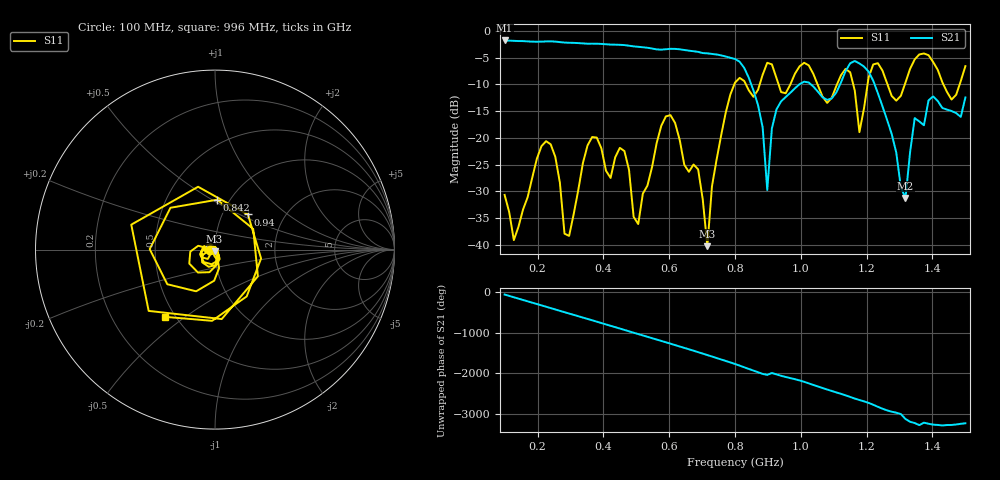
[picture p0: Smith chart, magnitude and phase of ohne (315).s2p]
! NanoVNA-App
! Date: 2025-09-25 14:23:15
! Start: 100MHz Stop: 1,5GHz Points: 101
! S-Parameter data: F S11 S21 S12 S22
# Hz S RI R 50
!  Frequency  S11_Real  S11_Imag  S21_Real  S21_Imag  S12_Real  S12_Imag  S22_Real  S22_Imag
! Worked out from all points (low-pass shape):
!   101 points, 100 MHz to 1.5 GHz, reference 50 ohm
!   highest |S21| = -1.79 dB at 100 MHz (marker M1); lowest = -31.2 dB at 1.318 GHz (marker M2)
!   |S21| within 3 dB of the highest: start of sweep to 772.1 MHz
!   lowest |S11| = -40.2 dB at 716 MHz (marker M3), VSWR 1.02, Z = 49.7 - j0.937 ohm
!   |S11| at or under -10 dB: start of sweep to 797.9 MHz; 833.1 MHz to 875 MHz (41.91 MHz wide, 4.91 % of centre); 1.051 GHz to 1.11 GHz (59.15 MHz wide, 5.48 % of centre) (the widest 3 of 7)
!   S12 and S22 are empty: the file has one direction only
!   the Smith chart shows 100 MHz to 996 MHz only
!   S11 on the Smith chart (normalised r, x): 100 MHz: 0.94, -0.01; 842 MHz: 0.88, +0.53; 940 MHz: 1.32, +0.55; 996 MHz: 0.44, -0.42
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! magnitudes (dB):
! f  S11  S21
! 100 MHz  -30.6  -1.8
! 128 MHz  -39.1  -1.9
! 226 MHz  -20.6  -2.0
! 296 MHz  -38.3  -2.2
! 338 MHz  -24.7  -2.3
! 464 MHz  -22.5  -2.7
! 506 MHz  -36.1  -3.0
! 576 MHz  -17.7  -3.5
! 688 MHz  -25.9  -3.9
! 716 MHz  -40.2  -4.2
! 800 MHz  -9.7  -5.3
! 842 MHz  -11.1  -8.8
! 898 MHz  -6.0  -29.7
! 940 MHz  -11.4  -13.2
! 996 MHz  -6.6  -10.0
! 1.038 GHz  -8.0  -10.4
! 1.178 GHz  -18.9  -6.1
! 1.22 GHz  -6.3  -9.3
! 1.276 GHz  -12.2  -19.2
! 1.318 GHz  -9.6  -31.2
! 1.346 GHz  -5.3  -16.3
! 1.5 GHz  -6.6  -12.4
